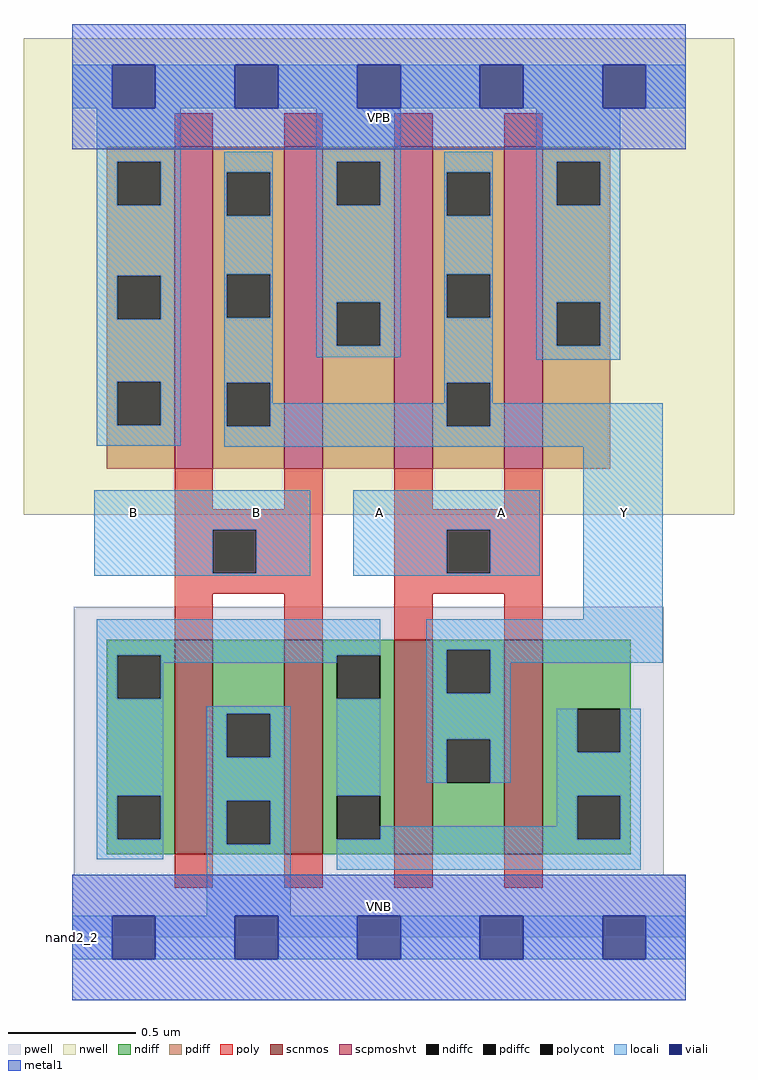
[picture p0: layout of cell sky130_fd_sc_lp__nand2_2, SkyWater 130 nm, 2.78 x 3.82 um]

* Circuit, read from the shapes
.subckt sky130_fd_sc_lp__nand2_2 A B VGND VNB VPB VPWR Y
XM1 VGND B n1 VNB sky130_fd_pr__nfet_01v8 w=0.84 l=0.15 m=2
XM2 Y A n1 VNB sky130_fd_pr__nfet_01v8 w=0.84 l=0.15 m=2
XM3 Y B VPWR VPB sky130_fd_pr__pfet_01v8_hvt w=1.26 l=0.15 m=2
XM4 Y A VPWR VPB sky130_fd_pr__pfet_01v8_hvt w=1.26 l=0.15 m=2
.ends

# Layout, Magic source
magic
tech sky130A
magscale 1 2
<< nwell >>
rect -38 331 518 704
<< pwell >>
rect 1 49 463 259
rect 0 0 480 49
<< scnmos >>
rect 80 65 110 233
rect 166 65 196 233
rect 252 65 282 233
rect 338 65 368 233
<< scpmoshvt >>
rect 80 367 110 619
rect 166 367 196 619
rect 252 367 282 619
rect 338 367 368 619
<< ndiff >>
rect 27 221 80 233
rect 27 187 35 221
rect 69 187 80 221
rect 27 111 80 187
rect 27 77 35 111
rect 69 77 80 111
rect 27 65 80 77
rect 110 175 166 233
rect 110 141 121 175
rect 155 141 166 175
rect 110 107 166 141
rect 110 73 121 107
rect 155 73 166 107
rect 110 65 166 73
rect 196 221 252 233
rect 196 187 207 221
rect 241 187 252 221
rect 196 111 252 187
rect 196 77 207 111
rect 241 77 252 111
rect 196 65 252 77
rect 282 225 338 233
rect 282 191 293 225
rect 327 191 338 225
rect 282 155 338 191
rect 282 121 293 155
rect 327 121 338 155
rect 282 65 338 121
rect 368 179 437 233
rect 368 145 395 179
rect 429 145 437 179
rect 368 111 437 145
rect 368 77 395 111
rect 429 77 437 111
rect 368 65 437 77
<< pdiff >>
rect 27 607 80 619
rect 27 573 35 607
rect 69 573 80 607
rect 27 518 80 573
rect 27 484 35 518
rect 69 484 80 518
rect 27 435 80 484
rect 27 401 35 435
rect 69 401 80 435
rect 27 367 80 401
rect 110 599 166 619
rect 110 565 121 599
rect 155 565 166 599
rect 110 519 166 565
rect 110 485 121 519
rect 155 485 166 519
rect 110 434 166 485
rect 110 400 121 434
rect 155 400 166 434
rect 110 367 166 400
rect 196 607 252 619
rect 196 573 207 607
rect 241 573 252 607
rect 196 497 252 573
rect 196 463 207 497
rect 241 463 252 497
rect 196 367 252 463
rect 282 599 338 619
rect 282 565 293 599
rect 327 565 338 599
rect 282 519 338 565
rect 282 485 293 519
rect 327 485 338 519
rect 282 434 338 485
rect 282 400 293 434
rect 327 400 338 434
rect 282 367 338 400
rect 368 607 421 619
rect 368 573 379 607
rect 413 573 421 607
rect 368 497 421 573
rect 368 463 379 497
rect 413 463 421 497
rect 368 367 421 463
<< ndiffc >>
rect 35 187 69 221
rect 35 77 69 111
rect 121 141 155 175
rect 121 73 155 107
rect 207 187 241 221
rect 207 77 241 111
rect 293 191 327 225
rect 293 121 327 155
rect 395 145 429 179
rect 395 77 429 111
<< pdiffc >>
rect 35 573 69 607
rect 35 484 69 518
rect 35 401 69 435
rect 121 565 155 599
rect 121 485 155 519
rect 121 400 155 434
rect 207 573 241 607
rect 207 463 241 497
rect 293 565 327 599
rect 293 485 327 519
rect 293 400 327 434
rect 379 573 413 607
rect 379 463 413 497
<< poly >>
rect 80 619 110 645
rect 166 619 196 645
rect 252 619 282 645
rect 338 619 368 645
rect 80 335 110 367
rect 166 335 196 367
rect 80 319 196 335
rect 80 285 110 319
rect 144 285 196 319
rect 80 269 196 285
rect 80 233 110 269
rect 166 233 196 269
rect 252 335 282 367
rect 338 335 368 367
rect 252 319 368 335
rect 252 285 293 319
rect 327 285 368 319
rect 252 269 368 285
rect 252 233 282 269
rect 338 233 368 269
rect 80 39 110 65
rect 166 39 196 65
rect 252 39 282 65
rect 338 39 368 65
<< polycont >>
rect 110 285 144 319
rect 293 285 327 319
<< locali >>
rect 0 649 31 683
rect 65 649 127 683
rect 161 649 223 683
rect 257 649 319 683
rect 353 649 415 683
rect 449 649 480 683
rect 19 607 85 649
rect 19 573 35 607
rect 69 573 85 607
rect 19 518 85 573
rect 19 484 35 518
rect 69 484 85 518
rect 19 435 85 484
rect 19 401 35 435
rect 69 401 85 435
rect 19 385 85 401
rect 119 599 157 615
rect 119 565 121 599
rect 155 565 157 599
rect 119 519 157 565
rect 119 485 121 519
rect 155 485 157 519
rect 119 434 157 485
rect 191 607 257 649
rect 191 573 207 607
rect 241 573 257 607
rect 191 497 257 573
rect 191 463 207 497
rect 241 463 257 497
rect 191 454 257 463
rect 291 599 329 615
rect 291 565 293 599
rect 327 565 329 599
rect 291 519 329 565
rect 291 485 293 519
rect 327 485 329 519
rect 119 400 121 434
rect 155 418 157 434
rect 291 434 329 485
rect 363 607 429 649
rect 363 573 379 607
rect 413 573 429 607
rect 363 497 429 573
rect 363 463 379 497
rect 413 463 429 497
rect 363 452 429 463
rect 291 418 293 434
rect 155 400 293 418
rect 327 418 329 434
rect 327 400 462 418
rect 119 384 462 400
rect 17 319 186 350
rect 17 285 110 319
rect 144 285 186 319
rect 17 283 186 285
rect 220 319 366 350
rect 220 285 293 319
rect 327 285 366 319
rect 220 283 366 285
rect 400 249 462 384
rect 19 221 241 249
rect 19 187 35 221
rect 69 215 207 221
rect 69 187 71 215
rect 19 111 71 187
rect 19 77 35 111
rect 69 77 71 111
rect 19 61 71 77
rect 105 175 171 181
rect 105 141 121 175
rect 155 141 171 175
rect 105 107 171 141
rect 105 73 121 107
rect 155 73 171 107
rect 105 17 171 73
rect 207 111 241 187
rect 277 225 462 249
rect 277 191 293 225
rect 327 215 462 225
rect 327 191 343 215
rect 277 155 343 191
rect 277 121 293 155
rect 327 121 343 155
rect 379 145 395 179
rect 429 145 445 179
rect 379 111 445 145
rect 379 87 395 111
rect 241 77 395 87
rect 429 77 445 111
rect 207 53 445 77
rect 0 -17 31 17
rect 65 -17 127 17
rect 161 -17 223 17
rect 257 -17 319 17
rect 353 -17 415 17
rect 449 -17 480 17
<< viali >>
rect 31 649 65 683
rect 127 649 161 683
rect 223 649 257 683
rect 319 649 353 683
rect 415 649 449 683
rect 31 -17 65 17
rect 127 -17 161 17
rect 223 -17 257 17
rect 319 -17 353 17
rect 415 -17 449 17
<< metal1 >>
rect 0 683 480 715
rect 0 649 31 683
rect 65 649 127 683
rect 161 649 223 683
rect 257 649 319 683
rect 353 649 415 683
rect 449 649 480 683
rect 0 617 480 649
rect 0 17 480 49
rect 0 -17 31 17
rect 65 -17 127 17
rect 161 -17 223 17
rect 257 -17 319 17
rect 353 -17 415 17
rect 449 -17 480 17
rect 0 -49 480 -17
<< labels >>
flabel pwell s 0 0 480 49 0 FreeSans 200 0 0 0 VNB
port 4 nsew ground bidirectional
flabel nwell s 0 617 480 666 0 FreeSans 200 0 0 0 VPB
port 5 nsew power bidirectional
rlabel comment s 0 0 0 0 4 nand2_2
flabel metal1 s 0 617 480 666 0 FreeSans 340 0 0 0 VPWR
port 6 nsew power bidirectional
flabel metal1 s 0 0 480 49 0 FreeSans 340 0 0 0 VGND
port 3 nsew ground bidirectional
flabel locali s 223 316 257 350 0 FreeSans 340 0 0 0 A
port 1 nsew signal input
flabel locali s 319 316 353 350 0 FreeSans 340 0 0 0 A
port 1 nsew signal input
flabel locali s 31 316 65 350 0 FreeSans 340 0 0 0 B
port 2 nsew signal input
flabel locali s 127 316 161 350 0 FreeSans 340 0 0 0 B
port 2 nsew signal input
flabel locali s 415 316 449 350 0 FreeSans 340 0 0 0 Y
port 7 nsew signal output
<< properties >>
string LEFsite unit
string LEFclass CORE
string FIXED_BBOX 0 0 480 666
string GDS_FILE $PDKPATH/libs.ref/sky130_fd_sc_lp/gds/sky130_fd_sc_lp.gds
string LEFsymmetry X Y R90
string GDS_END 5794608
string GDS_START 5789484
<< end >>
